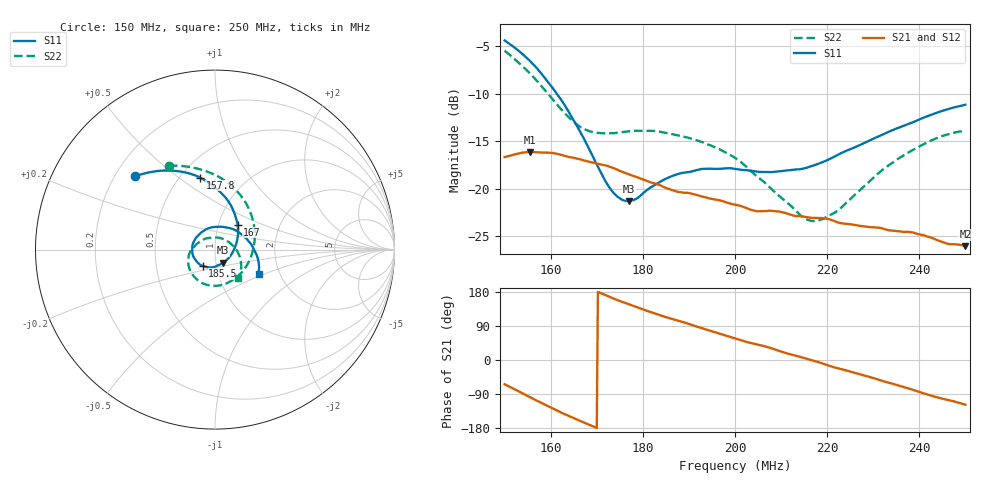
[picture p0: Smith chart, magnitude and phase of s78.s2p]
# Hz S MA R 50
! Planar, Obzor-304, 08125003, 3.51/02
! Äàòà: 26.03.2019 11:30:05
! ×àñòîòà  S11: Mag/Ang (F2)  S21: Mag/Ang (F2)  S12: Mag/Ang (F2)  S22: Mag/Ang (F2)
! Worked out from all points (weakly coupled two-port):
!   401 points, 150 MHz to 250 MHz, reference 50 ohm
!   highest |S21| = -16.14 dB at 155.5 MHz (marker M1); lowest = -26.1 dB at 250 MHz (marker M2)
!   lowest |S11| = -21.3 dB at 177 MHz (marker M3), VSWR 1.19, Z = 54.1 - j7.98 ohm
!   |S11| at or under -10 dB: 161.3 MHz to end of sweep
!   |S22| runs from -23.4 to -5.5 dB; largest |S21 - S12| = 0.001
!   S11 on the Smith chart (normalised r, x): 150 MHz: 0.28, +0.36; 157.8 MHz: 0.62, +0.60; 167 MHz: 1.23, +0.35; 185.5 MHz: 0.86, -0.16; 250 MHz: 1.56, -0.45
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1.5e8  0.6039 137.5  0.1465 -64.0  0.147 -63.7  0.5332 118.9
1.5275e8  0.54 125.7  0.1526 -80.6  0.153 -80.6  0.468 103.8
1.555e8  0.471 113.0  0.156 -98.1  0.1564 -98.0  0.4048 86.7
1.5775e8  0.4103 101.8  0.155 -111.8  0.1551 -111.7  0.3527 70.9
1.62e8  0.3004 79.7  0.1512 -137.1  0.1516 -136.9  0.2662 37.4
1.6675e8  0.1925 49.7  0.1418 -162.8  0.1422 -162.6  0.209 -3.9
1.67e8  0.1875 47.8  0.1412 -164.0  0.1415 -163.9  0.2075 -6.0
1.73e8  0.09937 -8.7  0.1299 165.5  0.1302 165.6  0.1956 -54.0
1.75e8  0.08873 -34.0  0.124 155.7  0.1242 155.8  0.1977 -67.0
1.77e8  0.08599 -58.4  0.1189 146.6  0.1191 146.7  0.2009 -79.1
1.835e8  0.1076 -114.6  0.1047 119.1  0.1048 119.1  0.1997 -111.2
1.855e8  0.1141 -126.9  0.09989 111.2  0.1 111.3  0.1955 -119.2
1.93e8  0.1269 -164.4  0.09059 83.2  0.09073 83.3  0.1753 -145.7
2e8  0.127 162.1  0.08215 57.1  0.08234 57.3  0.1452 -170.8
2.045e8  0.1231 140.1  0.07613 41.9  0.07628 42.1  0.1173 171.5
2.0775e8  0.122 123.7  0.07641 31.4  0.07664 31.5  0.1003 157.5
2.145e8  0.127 86.5  0.07143 6.8  0.07161 6.9  0.07125 113.7
2.1675e8  0.1317 75.2  0.07005 -0.8  0.07026 -0.7  0.06741 95.4
2.22e8  0.1492 51.3  0.06673 -20.9  0.06682 -20.9  0.07564 48.5
2.335e8  0.2 10.5  0.0602 -60.4  0.06022 -60.4  0.1334 -10.2
2.42e8  0.2422 -11.0  0.05566 -91.8  0.0557 -91.7  0.1767 -34.0
2.5e8  0.2768 -28.8  0.04968 -117.9  0.04978 -117.9  0.202 -51.5
